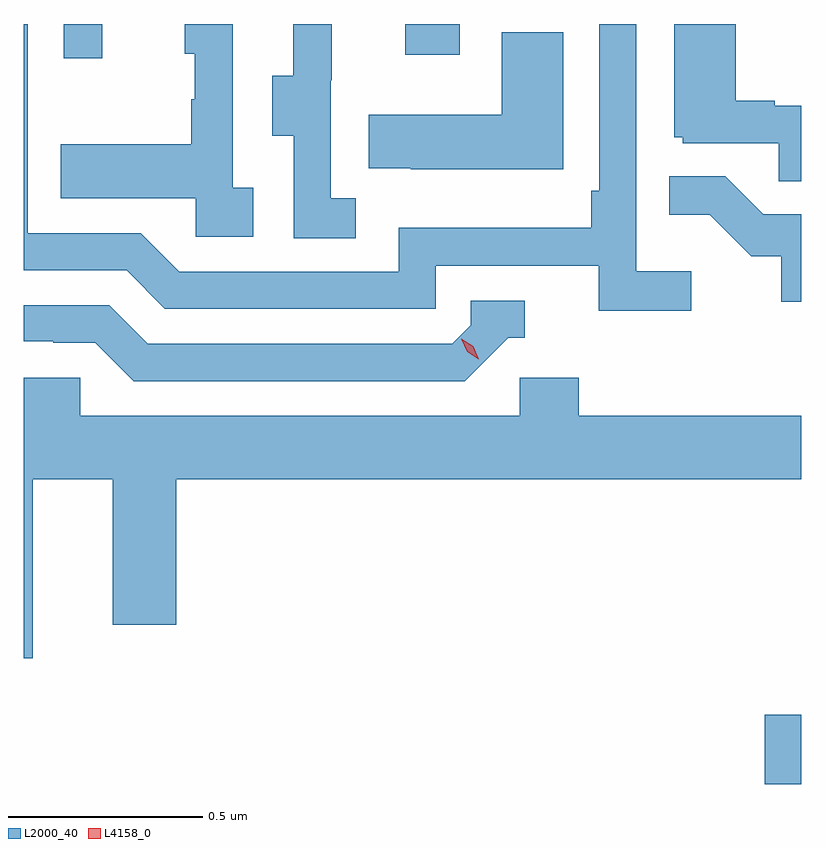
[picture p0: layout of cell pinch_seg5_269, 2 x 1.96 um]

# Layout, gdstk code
import gdstk
lib = gdstk.Library(unit=1e-6, precision=1e-09)
def R(c, l, rs):  # rectangles x0, y0, x1, y1
    for r in rs: c.add(gdstk.rectangle(r[:2], r[2:], *l))
def P(c, l, *ps):  # polygons
    for p in ps: c.add(gdstk.Polygon(p, *l))
L2000_40 = (2000, 40)
L4158_0 = (4158, 0)

pinch_seg5_269 = lib.new_cell('pinch_seg5_269')
R(pinch_seg5_269, L2000_40, [(897.954,907.924,898.048,908.102), (896.151,909.792,896.249,909.88), (897.029,909.801,897.169,909.88)])
P(pinch_seg5_269, L2000_40, [(897.766,909.244),(897.624,909.244),(897.624,909.88),(897.528,909.88),(897.528,909.451),(897.508,909.451),(897.508,909.355),(897.012,909.355),(897.012,909.243),(896.448,909.243),(896.349,909.342),(896.058,909.342),(896.058,909.88),(896.048,909.88),(896.048,909.246),(896.312,909.246),(896.411,909.147),(897.108,909.147),(897.108,909.258),(897.527,909.258),(897.527,909.142),(897.766,909.142)],
  [(898.048,909.669),(897.98,909.669),(897.98,909.682),(897.88,909.682),(897.88,909.88),(897.722,909.88),(897.722,909.588),(897.744,909.588),(897.744,909.573),(897.991,909.573),(897.991,909.475),(898.048,909.475)],
  [(896.638,909.458),(896.586,909.458),(896.586,909.88),(896.462,909.88),(896.462,909.804),(896.488,909.804),(896.488,909.686),(896.478,909.686),(896.478,909.571),(896.143,909.571),(896.143,909.431),(896.49,909.431),(896.49,909.333),(896.638,909.333)],
  [(896.902,909.431),(896.838,909.431),(896.838,909.735),(896.84,909.735),(896.84,909.88),(896.741,909.88),(896.741,909.747),(896.687,909.747),(896.687,909.592),(896.742,909.592),(896.742,909.328),(896.902,909.328)],
  [(897.436,909.859),(897.278,909.859),(897.278,909.646),(896.935,909.646),(896.935,909.509),(897.043,909.509),(897.043,909.506),(897.436,909.506)],
  [(898.048,909.39),(897.951,909.39),(897.853,909.488),(897.709,909.488),(897.709,909.389),(897.813,909.389),(897.92,909.282),(897.997,909.282),(897.997,909.165),(898.048,909.165)],
  [(897.294,909.072),(897.337,909.072),(897.337,909.168),(897.198,909.168),(897.198,909.105),(897.15,909.057),(896.367,909.057),(896.268,909.156),(896.048,909.156),(896.048,909.063),(896.124,909.063),(896.124,909.06),(896.231,909.06),(896.33,908.961),(897.183,908.961)],
  [(896.071,908.708),(896.276,908.708),(896.276,908.334),(896.44,908.334),(896.44,908.708),(898.048,908.708),(898.048,908.872),(897.476,908.872),(897.476,908.97),(897.324,908.97),(897.324,908.872),(896.193,908.872),(896.193,908.97),(896.048,908.97),(896.048,908.247),(896.071,908.247)])
P(pinch_seg5_269, L4158_0, [(897.219,909.017),(897.189,909.037),(897.173,909.07),(897.173,909.07),(897.174,909.07),(897.204,909.05),(897.219,909.017),(897.219,909.017)])

lib.write_gds('pinch_seg5_269.gds')
